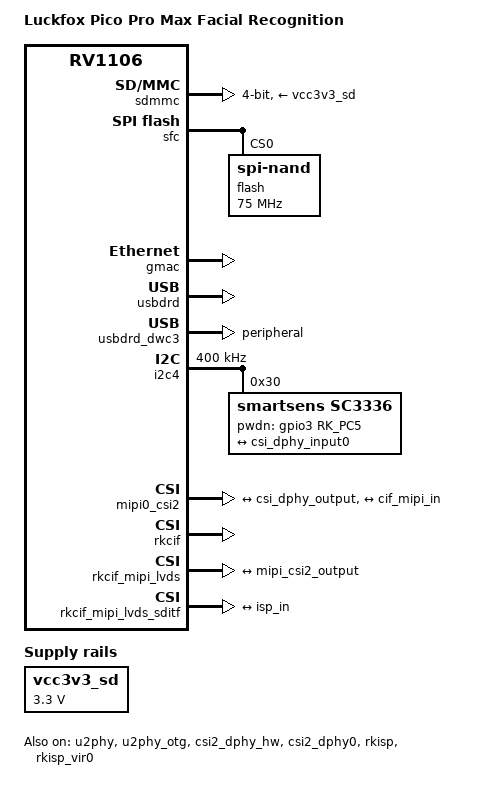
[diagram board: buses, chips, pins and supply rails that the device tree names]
// SPDX-License-Identifier: (GPL-2.0+ OR MIT)
// Facial Recognition firmware: Luckfox Pico Pro Max with one SC3336 sensor.
/dts-v1/;

#include "rv1106.dtsi"
#include "rv1106-evb.dtsi"
#include "rv1106-amp.dtsi"

/ {
	model = "Luckfox Pico Pro Max Facial Recognition";
	compatible = "luckfox,pico-pro-max-facial-recognition", "rockchip,rv1106g3";

	vcc3v3_sd: vcc3v3-sd {
		compatible = "regulator-fixed";
		regulator-name = "vcc3v3_sd";
		regulator-always-on;
		regulator-boot-on;
		regulator-min-microvolt = <3300000>;
		regulator-max-microvolt = <3300000>;
	};
};

&sdmmc {
	max-frequency = <50000000>;
	no-sdio;
	no-mmc;
	bus-width = <4>;
	cap-mmc-highspeed;
	cap-sd-highspeed;
	disable-wp;
	pinctrl-names = "normal", "idle";
	pinctrl-0 = <&sdmmc0_clk &sdmmc0_cmd &sdmmc0_det &sdmmc0_bus4>;
	pinctrl-1 = <&sdmmc0_idle_pins &sdmmc0_det>;
	vmmc-supply = <&vcc3v3_sd>;
	status = "okay";
};

&sfc {
	status = "okay";
	flash@0 {
		compatible = "spi-nand";
		reg = <0>;
		spi-max-frequency = <75000000>;
		spi-rx-bus-width = <4>;
		spi-tx-bus-width = <1>;
	};
};

&gmac { status = "okay"; };
&u2phy { status = "okay"; };
&u2phy_otg { rockchip,dis-u2-susphy; status = "okay"; };
&usbdrd { status = "okay"; };
&usbdrd_dwc3 { status = "okay"; dr_mode = "peripheral"; };

&csi2_dphy_hw { status = "okay"; };

&csi2_dphy0 {
	status = "okay";
	ports {
		#address-cells = <1>;
		#size-cells = <0>;
		port@0 {
			reg = <0>;
			#address-cells = <1>;
			#size-cells = <0>;
			csi_dphy_input0: endpoint@0 {
				reg = <0>;
				remote-endpoint = <&sc3336_out>;
				data-lanes = <1 2>;
			};
		};
		port@1 {
			reg = <1>;
			csi_dphy_output: endpoint {
				remote-endpoint = <&mipi_csi2_input>;
			};
		};
	};
};

&i2c4 {
	status = "okay";
	clock-frequency = <400000>;
	pinctrl-names = "default";
	pinctrl-0 = <&i2c4m2_xfer>;

	sc3336: camera@30 {
		compatible = "smartsens,sc3336";
		status = "okay";
		reg = <0x30>;
		clocks = <&cru MCLK_REF_MIPI0>;
		clock-names = "xvclk";
		pwdn-gpios = <&gpio3 RK_PC5 GPIO_ACTIVE_HIGH>;
		pinctrl-names = "default";
		pinctrl-0 = <&mipi_refclk_out0>;
		rockchip,camera-module-index = <0>;
		rockchip,camera-module-facing = "back";
		rockchip,camera-module-name = "CMK-OT2119-PC1";
		rockchip,camera-module-lens-name = "30IRC-F16";
		port {
			sc3336_out: endpoint {
				remote-endpoint = <&csi_dphy_input0>;
				data-lanes = <1 2>;
			};
		};
	};
};

&mipi0_csi2 {
	status = "okay";
	ports {
		#address-cells = <1>;
		#size-cells = <0>;
		port@0 {
			reg = <0>;
			mipi_csi2_input: endpoint@1 {
				reg = <1>;
				remote-endpoint = <&csi_dphy_output>;
			};
		};
		port@1 {
			reg = <1>;
			mipi_csi2_output: endpoint@0 {
				reg = <0>;
				remote-endpoint = <&cif_mipi_in>;
			};
		};
	};
};

&rkcif { status = "okay"; };

&rkcif_mipi_lvds {
	status = "okay";
	pinctrl-names = "default";
	pinctrl-0 = <&mipi_pins>;
	port {
		cif_mipi_in: endpoint {
			remote-endpoint = <&mipi_csi2_output>;
		};
	};
};

&rkcif_mipi_lvds_sditf {
	status = "okay";
	port {
		mipi_lvds_sditf: endpoint {
			remote-endpoint = <&isp_in>;
		};
	};
};

&rkisp { status = "okay"; };

&rkisp_vir0 {
	status = "okay";
	port@0 {
		isp_in: endpoint {
			remote-endpoint = <&mipi_lvds_sditf>;
		};
	};
};
